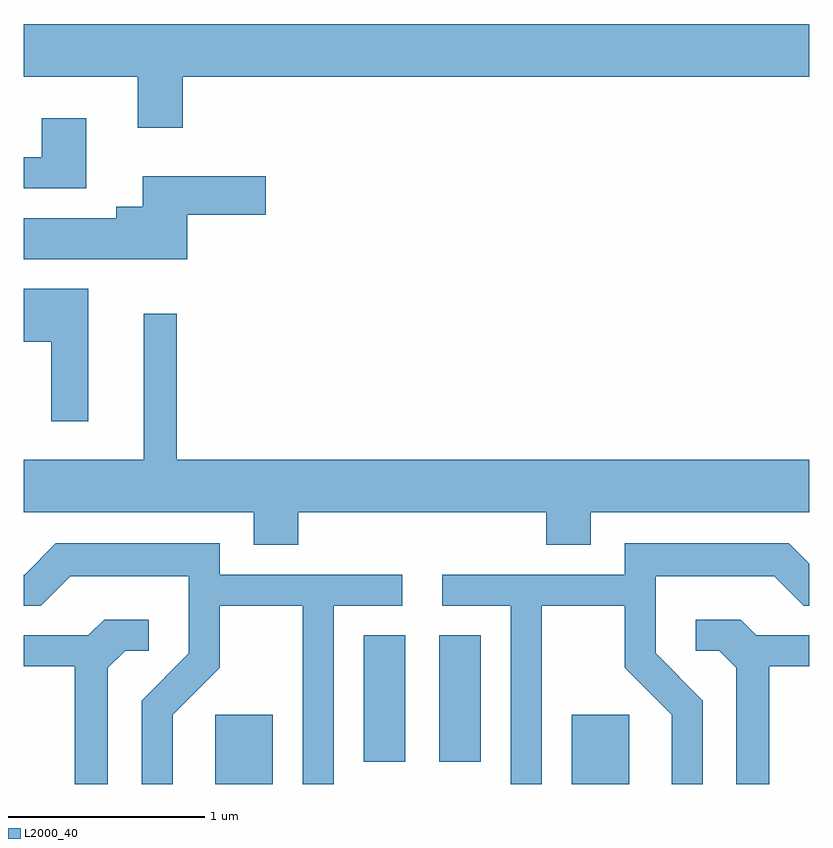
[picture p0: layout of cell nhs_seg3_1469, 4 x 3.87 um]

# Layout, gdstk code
import gdstk
lib = gdstk.Library(unit=1e-6, precision=1e-09)
def R(c, l, rs):  # rectangles x0, y0, x1, y1
    for r in rs: c.add(gdstk.rectangle(r[:2], r[2:], *l))
def P(c, l, *ps):  # polygons
    for p in ps: c.add(gdstk.Polygon(p, *l))
L2000_40 = (2000, 40)

nhs_seg3_1469 = lib.new_cell('nhs_seg3_1469')
R(nhs_seg3_1469, L2000_40, [(228.586,1197.892,228.879,1198.244), (230.401,1197.892,230.694,1198.244), (229.341,1198.006,229.554,1198.649), (229.726,1198.006,229.939,1198.649)])
P(nhs_seg3_1469, L2000_40, [(228.419,1201.496),(231.611,1201.496),(231.611,1201.764),(227.611,1201.764),(227.611,1201.496),(228.191,1201.496),(228.191,1201.236),(228.419,1201.236)],
  [(227.929,1201.284),(227.701,1201.284),(227.701,1201.084),(227.611,1201.084),(227.611,1200.926),(227.929,1200.926)],
  [(228.444,1200.791),(228.844,1200.791),(228.844,1200.989),(228.216,1200.989),(228.216,1200.834),(228.081,1200.834),(228.081,1200.774),(227.611,1200.774),(227.611,1200.566),(228.444,1200.566)],
  [(227.939,1200.414),(227.611,1200.414),(227.611,1200.146),(227.751,1200.146),(227.751,1199.741),(227.939,1199.741)],
  [(229.009,1199.276),(230.271,1199.276),(230.271,1199.111),(230.499,1199.111),(230.499,1199.276),(231.611,1199.276),(231.611,1199.544),(228.389,1199.544),(228.389,1200.288),(228.221,1200.288),(228.221,1199.544),(227.611,1199.544),(227.611,1199.276),(228.781,1199.276),(228.781,1199.111),(229.009,1199.111)],
  [(228.369,1198.244),(228.609,1198.484),(228.609,1198.801),(229.031,1198.801),(229.031,1197.892),(229.189,1197.892),(229.189,1198.801),(229.538,1198.801),(229.538,1198.959),(228.609,1198.959),(228.609,1199.119),(227.774,1199.119),(227.614,1198.959),(227.611,1198.959),(227.611,1198.801),(227.697,1198.801),(227.847,1198.951),(228.451,1198.951),(228.451,1198.557),(228.211,1198.317),(228.211,1197.892),(228.369,1197.892)],
  [(230.249,1198.801),(230.671,1198.801),(230.671,1198.484),(230.911,1198.244),(230.911,1197.892),(231.069,1197.892),(231.069,1198.317),(230.829,1198.557),(230.829,1198.951),(231.434,1198.951),(231.584,1198.801),(231.611,1198.801),(231.611,1199.015),(231.507,1199.119),(230.671,1199.119),(230.671,1198.959),(229.743,1198.959),(229.743,1198.801),(230.091,1198.801),(230.091,1197.892),(230.249,1197.892)],
  [(228.039,1198.484),(228.127,1198.571),(228.248,1198.571),(228.248,1198.729),(228.019,1198.729),(227.939,1198.649),(227.611,1198.649),(227.611,1198.491),(227.871,1198.491),(227.871,1197.892),(228.039,1197.892)],
  [(231.409,1198.491),(231.611,1198.491),(231.611,1198.649),(231.342,1198.649),(231.262,1198.729),(231.033,1198.729),(231.033,1198.571),(231.154,1198.571),(231.241,1198.484),(231.241,1197.892),(231.409,1197.892)])

lib.write_gds('nhs_seg3_1469.gds')
